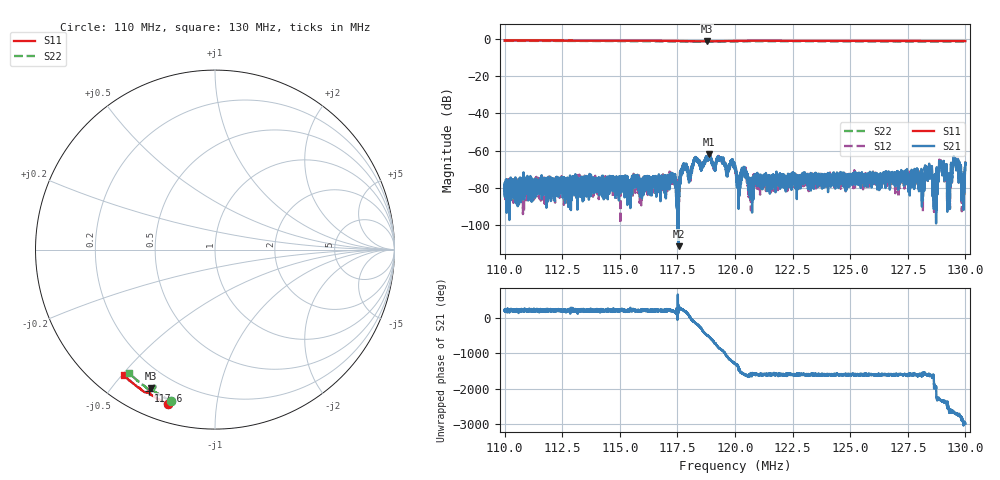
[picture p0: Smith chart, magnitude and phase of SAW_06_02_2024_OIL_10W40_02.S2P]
!Agilent Technologies,E5071C,MY46520923,B.12.03
!Date: Wed Feb 07 10:59:38 2024
!Data & Calibration Information:
!Freq	S11:SOLT2(ON)	S21:SOLT2(ON)	S12:SOLT2(ON)	S22:SOLT2(ON)
!PortZ  Port1:50+j0  Port2:50+j0
!Above PortZ is port z conversion or system Z0 setting when saving the data.
!When reading, reference impedance value at option line is always used.
# Hz S dB R 50
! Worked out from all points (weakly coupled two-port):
!   10000 points, 110 MHz to 130 MHz, reference 50 ohm
!   highest |S21| = -61.89 dB at 118.9 MHz (marker M1); lowest = -111.2 dB at 117.6 MHz (marker M2)
!   lowest |S11| = -1.4 dB at 118.8 MHz (marker M3), VSWR 12.47, Z = 5.63 - j31.7 ohm
!   |S11| at or under -10 dB: nowhere
!   |S22| runs from -1.6 to -1.1 dB; largest |S21 - S12| = 0.00019
!   S11 on the Smith chart (normalised r, x): 110 MHz: 0.08, -0.74; 117.6 MHz: 0.10, -0.63; 130 MHz: 0.09, -0.51
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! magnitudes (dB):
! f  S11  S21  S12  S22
! 110 MHz  -0.9  -77.6  -77.6  -1.1
! 113.3 MHz  -1.0  -78.2  -78.9  -1.2
! 116.7 MHz  -1.1  -82.1  -80.3  -1.3
! 117.6 MHz  -1.2  -111.2  -101.5  -1.5
! 117.8 MHz  -1.3  -67.9  -68.1  -1.5
! 118 MHz  -1.3  -72.1  -73.9  -1.6
! 118.3 MHz  -1.4  -65.4  -65.0  -1.6
! 118.8 MHz  -1.4  -63.8  -64.1  -1.6
! 118.9 MHz  -1.4  -61.9  -62.7  -1.6
! 120 MHz  -1.2  -68.4  -68.4  -1.4
! 120.1 MHz  -1.2  -76.9  -79.4  -1.4
! 120.7 MHz  -1.1  -76.2  -79.5  -1.3
! 123.3 MHz  -1.1  -77.7  -77.3  -1.4
! 126.7 MHz  -1.2  -73.1  -74.2  -1.5
! 128.1 MHz  -1.2  -77.8  -76.6  -1.5
! 128.5 MHz  -1.2  -70.5  -70.1  -1.5
! 128.7 MHz  -1.2  -81.5  -80.9  -1.5
! 129 MHz  -1.2  -68.1  -68.3  -1.5
! 129.3 MHz  -1.2  -76.2  -74.7  -1.5
! 129.6 MHz  -1.3  -64.6  -65.2  -1.5
! 129.9 MHz  -1.3  -76.8  -77.2  -1.5
! 130 MHz  -1.3  -66.7  -67.1  -1.5
